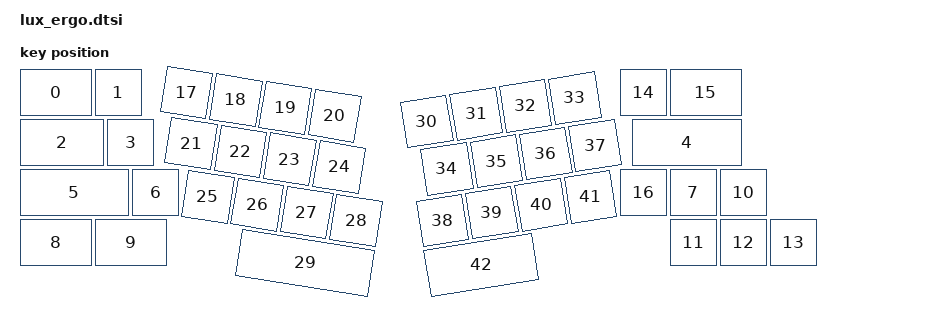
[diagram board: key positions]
#include <physical_layouts.dtsi>

/ {
    physical_layout0: physical_layout_0 {
        compatible = "zmk,physical-layout";
        display-name = "LAYOUT";

        kscan = <&kscan0>;
        transform = <&matrix_transform0>;

        keys  //                     w   h    x    y     rot    rx    ry
            = <&key_physical_attrs 150 100    0    0       0     0     0>
            , <&key_physical_attrs 100 100  150    0       0     0     0>
            , <&key_physical_attrs 175 100    0  100       0     0     0>
            , <&key_physical_attrs 100 100  175  100       0     0     0>
            , <&key_physical_attrs 225 100 1225  100       0     0     0>
            , <&key_physical_attrs 225 100    0  200       0     0     0>
            , <&key_physical_attrs 100 100  225  200       0     0     0>
            , <&key_physical_attrs 100 100 1300  200       0     0     0>
            , <&key_physical_attrs 150 100    0  300       0     0     0>
            , <&key_physical_attrs 150 100  150  300       0     0     0>
            , <&key_physical_attrs 100 100 1400  200       0     0     0>
            , <&key_physical_attrs 100 100 1300  300       0     0     0>
            , <&key_physical_attrs 100 100 1400  300       0     0     0>
            , <&key_physical_attrs 100 100 1500  300       0     0     0>
            , <&key_physical_attrs 100 100 1200    0       0     0     0>
            , <&key_physical_attrs 150 100 1300    0       0     0     0>
            , <&key_physical_attrs 100 100 1200  200       0     0     0>
            , <&key_physical_attrs 100 100  250    0     900   325   285>
            , <&key_physical_attrs 100 100  350    0     900   325   285>
            , <&key_physical_attrs 100 100  450    0     900   325   285>
            , <&key_physical_attrs 100 100  550    0     900   325   285>
            , <&key_physical_attrs 100 100  275  100     900   325   285>
            , <&key_physical_attrs 100 100  375  100     900   325   285>
            , <&key_physical_attrs 100 100  475  100     900   325   285>
            , <&key_physical_attrs 100 100  575  100     900   325   285>
            , <&key_physical_attrs 100 100  325  200     900   325   285>
            , <&key_physical_attrs 100 100  425  200     900   325   285>
            , <&key_physical_attrs 100 100  525  200     900   325   285>
            , <&key_physical_attrs 100 100  625  200     900   325   285>
            , <&key_physical_attrs 275 100  450  300     900   325   285>
            , <&key_physical_attrs 100 100  800    0  (-900)  1200   285>
            , <&key_physical_attrs 100 100  900    0  (-900)  1200   285>
            , <&key_physical_attrs 100 100 1000    0  (-900)  1200   285>
            , <&key_physical_attrs 100 100 1100    0  (-900)  1200   285>
            , <&key_physical_attrs 100 100  825  100  (-900)  1200   285>
            , <&key_physical_attrs 100 100  925  100  (-900)  1200   285>
            , <&key_physical_attrs 100 100 1025  100  (-900)  1200   285>
            , <&key_physical_attrs 100 100 1125  100  (-900)  1200   285>
            , <&key_physical_attrs 100 100  800  200  (-900)  1200   285>
            , <&key_physical_attrs 100 100  900  200  (-900)  1200   285>
            , <&key_physical_attrs 100 100 1000  200  (-900)  1200   285>
            , <&key_physical_attrs 100 100 1100  200  (-900)  1200   285>
            , <&key_physical_attrs 225 100  800  300  (-900)  1200   285>
            ;
    };
};
